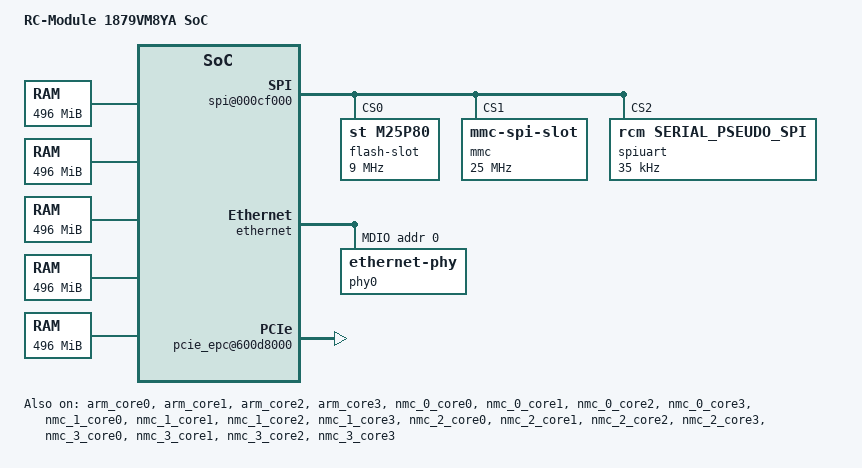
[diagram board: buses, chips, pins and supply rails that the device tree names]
/*
 *
 */

/dts-v1/;
/ {
    model = "RC-Module 1879VM8YA SoC";
    compatible = "rcm,1879VM8YA";

	#address-cells = <1>;
	#size-cells = <1>;

    aliases {
        uart0 = &spiuart;
        mmc0 = &mmc;
    }; 

    chosen {
/*
        bootargs = "earlyprintk debug";
*/
        stdout-path = &spiuart;
    };

    memory@61000000 {
        device_type = "memory";
        /* (1GiB-16MiB) memory @ 0x01000000 */
        reg = <0x61000000 0x1f000000>;
    };

    memory@81000000 {
        device_type = "memory";
        reg = <0x81000000 0x1f000000>;
    };

    memory@A1000000 {
        device_type = "memory";
        reg = <0xA1000000 0x1f000000>;
    };

    memory@C1000000 {
        device_type = "memory";
        reg = <0xC1000000 0x1f000000>;
    };

    memory@E1000000 {
        device_type = "memory";
        reg = <0xE1000000 0x1f000000>;
    };

    cpus {
        #address-cells = <1>;
        #size-cells = <0>;

        cpu0: cpu@0 {
            device_type = "cpu";
            compatible = "arm,cortex-a5";
            reg = <0x0>;
        };
    };

    axi {
        compatible = "arm,amba-bus";
        #address-cells = <1>;
        #size-cells = <1>;
        ranges = <0 0x0 0xFFFFFFFF>;

        bus-frequency = <10000000>;

        gic0: interrupt-controller@600b0000 {
            compatible = "arm,pl390";
            interrupt-controller;
            irq_start = <0>;
            #interrupt-cells = <3>;
            #address-cells = <1>;
            reg = <0x600b0000 0x1000>,
                  <0x600b1000 0x1000>;
        };

        L2: cache-controller {
            compatible = "arm,pl310-cache";
            reg = <0x000d2000 0x1000>;
            cache-unified;
            cache-level = <2>;
            cache-size = <0x80000>;
        };

        apb {
            compatible = "arm,amba-bus", "simple-bus";
            #address-cells = <1>;
            #size-cells = <1>;
            ranges = <0 0x0 0xffffffff>;

            timer@600cd000 {
                compatible = "arm,sp804", "arm,primecell";
                reg = <0x600cd000 0x1000>;
                interrupts = <0 4 4>, <0 5 4>;
                interrupt-parent = <&gic0>;
                interrupt-names = "timer0", "timer1";
                clocks = <&clk_apb>;
                clock-names = "apb_pclk";
            };

            wd@000ce000 {
                reg = <0x600ce000 0x1000>;
                compatible = "arm,sp805", "arm,primecell";
/*
                interrupts = <0 6 4>;
*/
                clocks = <&clk_apb>, <&clk_apb>;
                clock-names = "wdogclk", "apb_pclk";
            };

            spi@000cf000 {
                compatible = "arm,pl022", "arm,primecell";
                bus-id = <0>;
                reg = <0x600cf000 0x1000>;
                #address-cells = <1>;
                #size-cells = <0>;
                interrupt-parent = <&gic0>;
                interrupts = <0 34 4>;
                clocks = <&clk_apb>;
                clock-names = "apb_pclk";
                num-cs = <3>;
                
                flash-slot@0 {
                    compatible = "st,m25p80";
                    reg = <0>;
                    spi-max-frequency = <9000000>; /* DDDDDD <25000000>; */
                };
                mmc: mmc-slot@1 {
                    compatible = "mmc-spi-slot";
                    reg = <1>;
                    spi-max-frequency = <25000000>; /* DDDDDD <25000000>; */
                };
                spiuart: uart-slot@2
                {
                    compatible = "rcm,serial_pseudo_spi";
                    reg = <2>;
                    spi-max-frequency = <35000>; /* in case of (freq >= 37300) - stm32 receives data with corruption*/
                    spi-cpol;
                    spi-cpha;
                };
            };

            clk_axi: clk@0 {
                /* Reference 800MHz clock */
                compatible = "fixed-clock";
                #clock-cells = <0>;
                clock-frequency = <800000000>;
                clock-output-names = "clk_axi";
            };

            clk_apb: clk@1 {
                /* Reference 200MHz clock */
                compatible = "fixed-clock";
                #clock-cells = <0>;
                clock-frequency = <200000000>;
                clock-output-names = "clk_apb";
            };

            ethernet: greth@000d0000 {
                local-mac-address = [ ec 17 66 64 08 10 ];
                status = "okay";

                #address-cells = <1>;
                #size-cells = <1>;
                compatible = "rcm,greth";
                reg = <0x600d0000 0x1000>;
                cell-index = <0>;
                device_type = "network";
                clocks = <&clk_axi>;
                clock-names = "clk_axi";
                interrupt-parent = <&gic0>;
                interrupts = <0 35 1>;

                mdio {
                    compatible = "greth-mdio";
                    #address-cells = <1>;
                    #size-cells = <0>;

                    phy0: ethernet-phy@0 {
                        reg = <0>;  /* 0x1f */
                    };
                };
            };

            pcie_dma: pcie_dma@0x600de000 {
                compatible = "rcm,cdns-dma";
                reg = <0x600de000 0x1000>;
                #dma-cells = <1>;
                interrupt-parent = <&gic0>;
                interrupts = <0 40 4>;

                desc_area = <&ccpu_ccmb0>;
            };

            pcie_epc@600d8000 {
                compatible = "rcm,cdns-pcie-ep";
                reg = <0x600d8000 0x6000>,
                      <0x40000000 0x20000000>;
                reg-names = "reg", "mem";
                cdns,max-outbound-regions = <16>;
/*
                max-functions = /bits/ 8 <8>;
                phys = <&ep_phy0 &ep_phy1>;
                phy-names = "pcie-lane0","pcie-lane1";
*/
                csc = <&ccpu_clsc>;
            };

            pcie@600d8000 {
                compatible = "rcm,cdns-pcie-host";
                device_type = "pci";
                #address-cells = <3>;
                #size-cells = <2>;
                cdns,max-outbound-regions = <16>;
                vendor-id = /bits/ 16 <0x17cd>;
                device-id = /bits/ 16 <0x0200>;

                reg = <0x600d8000 0x6000>,
                      <0x50000000 0x00001000>,
                      <0x40000000 0x20000000>;
                reg-names = "reg", "cfg", "mem";

                ranges = <0x02000000 0x0 0x00000000  0x40000000  0x0 0x10000000>;

                #interrupt-cells = <0x1>;

                interrupt-map = <0x0 0x0 0x0  0x1  &gic0  0x0 0x0 42 0x4
                                 0x0 0x0 0x0  0x2  &gic0  0x0 0x0 43 0x4
                                 0x0 0x0 0x0  0x3  &gic0  0x0 0x0 44 0x4
                                 0x0 0x0 0x0  0x4  &gic0  0x0 0x0 45 0x4>;

                interrupt-map-mask = <0x0 0x0 0x0  0x7>;
/*
                msi-parent = <&its_pci>;

                phys = <&pcie_phy0>;
                phy-names = "pcie-phy";
*/
                status = "disabled";
            };


            thermal: thermal@0x600D1000 {
                compatible = "rcm,thermal-v2";
                reg = <0x600D1000 0x1000>;
                interrupt-parent = <&gic0>;
                interrupts = <0 3 4>;
                #thermal-sensor-cells = <0>;
            };

            ccpu_ccmb0: ccmb@0x60000000 {
                compatible = "syscon";
                reg = <0x60000000 0x20000>;
            };

            ccpu_ccmb1: ccmb@0x60020000 {
                compatible = "syscon";
                reg = <0x60020000 0x20000>;
            };

            ccpu_ccmb2: ccmb@0x60040000 {
                compatible = "syscon";
                reg = <0x60040000 0x20000>;
            };

            ccpu_ccmb3: ccmb@0x60080000 {
                compatible = "syscon";
                reg = <0x60080000 0x20000>;
            };

            pc0_cmb0 {
                compatible = "syscon";
                reg = <0x80000000 0x10000>;
            };

            pc1_cmb0 {
                compatible = "syscon";
                reg = <0xa0000000 0x10000>;
            };

            pc2_cmb0 {
                compatible = "syscon";
                reg = <0xc0000000 0x10000>;
            };

            pc3_cmb0 {
                compatible = "syscon";
                reg = <0xe0000000 0x10000>;
            };

            ccpu_crg0: crg@0x600c6000
            {
                compatible = "syscon";
                reg = <0x600c6000 0x1000>;
            };

            ccpu_crg1: crg@0x600c7000
            {
                compatible = "syscon";
                reg = <0x600c7000 0x1000>;
            };

            ccpu_crg2: crg@0x600c8000
            {
                compatible = "syscon";
                reg = <0x600c8000 0x1000>;
            };

            ccpu_crg3: crg@0x600c9000
            {
                compatible = "syscon";
                reg = <0x600c9000 0x1000>;
            };

            ccpu_clsc: csc@0x600cb000
            {
                compatible = "syscon";
                reg = <0x600cb000 0x1000>;
            };

            pc0_crgnm: crgnm@0x800ca000
            {
                compatible = "syscon";
                reg = <0x800ca000 0x1000>;
            };

            pc1_crgnm: crgnm@0xa00ca000
            {
                compatible = "syscon";
                reg = <0xa00ca000 0x1000>;
            };

            pc2_crgnm: crgnm@0xc00ca000
            {
                compatible = "syscon";
                reg = <0xc00ca000 0x1000>;
            };

            pc3_crgnm: crgnm@0xe00ca000
            {
                compatible = "syscon";
                reg = <0xe00ca000 0x1000>;
            };

            pc0_clsc: clsc@0x800cb000
            {
                compatible = "syscon";
                reg = <0x800cb000 0x1000>;
            };

            pc1_clsc: clsc@0xa00cb000
            {
                compatible = "syscon";
                reg = <0xa00cb000 0x1000>;
            };

            pc2_clsc: clsc@0xc00cb000
            {
                compatible = "syscon";
                reg = <0xc00cb000 0x1000>;
            };

            pc3_clsc: clsc@0xe00cb000
            {
                compatible = "syscon";
                reg = <0xe00cb000 0x1000>;
            };
        };
        
        arm_core0: arm_core@0x80000000 {
            compatible = "rcm,easynmc";
            core-name = "1879VM8YA-arm";
            core-type = "arm";
            device-id = <0>;

            reg = <0x80000000 0x00080000>;  // imem
            reg-names = "imem";

            control = <&ccpu_clsc>;
            reset = <&ccpu_crg0>;

            reset_bit =     <0>;            // reset bit no
            nmi_set_reg =   <0x14>, <0>;    // sctl offset, bit-no
            lp_status_reg = <0x10>, <4>;    // sctl offset, bit-no
            hp_status_reg = <0x10>, <0>;    // sctl offset, bit-no
            lp_set_reg =    <0x14>, <4>;    // sctl offset, bit-no
            hp_set_reg =    <0x14>, <0>;    // sctl offset, bit-no
            lp_clr_reg =    <0x10>, <4>;    // sctl offset, bit-no
            hp_clr_reg =    <0x10>, <0>;    // sctl offset, bit-no

            irq_polling;

            interrupt-parent = <&gic0>;
            interrupts = <0 48 4>, <0 8 4>;
            interrupt-names = "lp", "hp";
            status = "okay";
        };

        arm_core1: arm_core@0xa0000000 {
            compatible = "rcm,easynmc";
            core-name = "1879VM8YA-arm";
            core-type = "arm";
            device-id = <1>;

            reg = <0xa0000000 0x00080000>;  // imem
            reg-names = "imem";

            control = <&ccpu_clsc>;
            reset = <&ccpu_crg1>;

            reset_bit =     <0>;            // reset bit no
            nmi_set_reg =   <0x14>, <1>;    // sctl offset, bit-no
            lp_status_reg = <0x10>, <5>;    // sctl offset, bit-no
            hp_status_reg = <0x10>, <1>;    // sctl offset, bit-no
            lp_set_reg =    <0x14>, <5>;    // sctl offset, bit-no
            hp_set_reg =    <0x14>, <1>;    // sctl offset, bit-no
            lp_clr_reg =    <0x10>, <5>;    // sctl offset, bit-no
            hp_clr_reg =    <0x10>, <1>;    // sctl offset, bit-no

            irq_polling;

            interrupt-parent = <&gic0>;
            interrupts = <0 49 4>, <0 9 4>;
            interrupt-names = "lp", "hp";
            status = "okay";
        };

        arm_core2: arm_core@0xc0000000 {
            compatible = "rcm,easynmc";
            core-name = "1879VM8YA-arm";
            core-type = "arm";
            device-id = <2>;

            reg = <0xc0000000 0x00080000>;  // imem
            reg-names = "imem";

            control = <&ccpu_clsc>;
            reset = <&ccpu_crg2>;

            reset_bit =     <0>;            // reset bit no
            nmi_set_reg =   <0x14>, <2>;    // sctl offset, bit-no
            lp_status_reg = <0x10>, <6>;    // sctl offset, bit-no
            hp_status_reg = <0x10>, <2>;    // sctl offset, bit-no
            lp_set_reg =    <0x14>, <6>;    // sctl offset, bit-no
            hp_set_reg =    <0x14>, <2>;    // sctl offset, bit-no
            lp_clr_reg =    <0x10>, <6>;    // sctl offset, bit-no
            hp_clr_reg =    <0x10>, <2>;    // sctl offset, bit-no

            irq_polling;

            interrupt-parent = <&gic0>;
            interrupts = <0 50 4>, <0 10 4>;
            interrupt-names = "lp", "hp";
            status = "okay";
        };

        arm_core3: arm_core@0xe0000000 {
            compatible = "rcm,easynmc";
            core-name = "1879VM8YA-arm";
            core-type = "arm";
            device-id = <3>;

            reg = <0xe0000000 0x00080000>;  // imem
            reg-names = "imem";

            control = <&ccpu_clsc>;
            reset = <&ccpu_crg3>;

            reset_bit =     <0>;            // reset bit no
            nmi_set_reg =   <0x14>, <3>;    // sctl offset, bit-no
            lp_status_reg = <0x10>, <7>;    // sctl offset, bit-no
            hp_status_reg = <0x10>, <3>;    // sctl offset, bit-no
            lp_set_reg =    <0x14>, <7>;    // sctl offset, bit-no
            hp_set_reg =    <0x14>, <3>;    // sctl offset, bit-no
            lp_clr_reg =    <0x10>, <7>;    // sctl offset, bit-no
            hp_clr_reg =    <0x10>, <3>;    // sctl offset, bit-no

            irq_polling;

            interrupt-parent = <&gic0>;
            interrupts = <0 51 4>, <0 11 4>;
            interrupt-names = "lp", "hp";
            status = "okay";
        };

        nmc_0_core0: nmc_core@0x80100000 {
            compatible = "rcm,easynmc";
            core-name = "1879VM8YA-nmc";
            core-type = "nmc4";
            device-id = <4>;

            reg = <0x80100000 0x00040000>;  // imem
            reg-names = "imem";

            control = <&pc0_clsc>;
            reset = <&pc0_crgnm>;

            reset_bit =     <0>;            // reset bit no
            nmi_set_reg =   <0x0C>, <0>;    // sctl offset, bit-no
            lp_status_reg = <0x10>, <12>;   // sctl offset, bit-no
            hp_status_reg = <0x10>, <4>;    // sctl offset, bit-no
            lp_set_reg =    <0x14>, <12>;   // sctl offset, bit-no
            hp_set_reg =    <0x14>, <4>;    // sctl offset, bit-no
            lp_clr_reg =    <0x10>, <12>;   // sctl offset, bit-no
            hp_clr_reg =    <0x10>, <4>;    // sctl offset, bit-no

            irq_polling;

            status = "okay";
        };

        nmc_0_core1: nmc_core@0x80180000 {
            compatible = "rcm,easynmc";
            core-name = "1879VM8YA-nmc";
            core-type = "nmc4";
            device-id = <5>;

            reg = <0x80180000 0x00040000>;  // imem
            reg-names = "imem";

            control = <&pc0_clsc>;
            reset = <&pc0_crgnm>;

            reset_bit =     <1>;            // reset bit no
            nmi_set_reg =   <0x0C>, <1>;    // sctl offset, bit-no
            lp_status_reg = <0x10>, <13>;   // sctl offset, bit-no
            hp_status_reg = <0x10>, <5>;    // sctl offset, bit-no
            lp_set_reg =    <0x14>, <13>;   // sctl offset, bit-no
            hp_set_reg =    <0x14>, <5>;    // sctl offset, bit-no
            lp_clr_reg =    <0x10>, <13>;   // sctl offset, bit-no
            hp_clr_reg =    <0x10>, <5>;    // sctl offset, bit-no

            irq_polling;

            status = "okay";
        };

        nmc_0_core2: nmc_core@0x80200000 {
            compatible = "rcm,easynmc";
            core-name = "1879VM8YA-nmc";
            core-type = "nmc4";
            device-id = <6>;

            reg = <0x80200000 0x00040000>;  // imem
            reg-names = "imem";

            control = <&pc0_clsc>;
            reset = <&pc0_crgnm>;

            reset_bit =     <2>;            // reset bit no
            nmi_set_reg =   <0x0C>, <2>;    // sctl offset, bit-no
            lp_status_reg = <0x10>, <14>;   // sctl offset, bit-no
            hp_status_reg = <0x10>, <6>;    // sctl offset, bit-no
            lp_set_reg =    <0x14>, <14>;   // sctl offset, bit-no
            hp_set_reg =    <0x14>, <6>;    // sctl offset, bit-no
            lp_clr_reg =    <0x10>, <14>;   // sctl offset, bit-no
            hp_clr_reg =    <0x10>, <6>;    // sctl offset, bit-no

            irq_polling;

            status = "okay";
        };

        nmc_0_core3: nmc_core@0x80280000 {
            compatible = "rcm,easynmc";
            core-name = "1879VM8YA-nmc";
            core-type = "nmc4";
            device-id = <7>;

            reg = <0x80280000 0x00040000>;  // imem
            reg-names = "imem";

            control = <&pc0_clsc>;
            reset = <&pc0_crgnm>;

            reset_bit =     <3>;            // reset bit no
            nmi_set_reg =   <0x0C>, <3>;    // sctl offset, bit-no
            lp_status_reg = <0x10>, <15>;   // sctl offset, bit-no
            hp_status_reg = <0x10>, <7>;    // sctl offset, bit-no
            lp_set_reg =    <0x14>, <15>;   // sctl offset, bit-no
            hp_set_reg =    <0x14>, <7>;    // sctl offset, bit-no
            lp_clr_reg =    <0x10>, <15>;   // sctl offset, bit-no
            hp_clr_reg =    <0x10>, <7>;    // sctl offset, bit-no

            irq_polling;

            status = "okay";
        };

        nmc_1_core0: nmc_core@0xa0100000 {
            compatible = "rcm,easynmc";
            core-name = "1879VM8YA-nmc";
            core-type = "nmc4";
            device-id = <8>;

            reg = <0xa0100000 0x00040000>;  // imem
            reg-names = "imem";

            control = <&pc1_clsc>;
            reset = <&pc1_crgnm>;

            reset_bit =     <0>;            // reset bit no
            nmi_set_reg =   <0x0C>, <0>;    // sctl offset, bit-no
            lp_status_reg = <0x10>, <12>;   // sctl offset, bit-no
            hp_status_reg = <0x10>, <4>;    // sctl offset, bit-no
            lp_set_reg =    <0x14>, <12>;   // sctl offset, bit-no
            hp_set_reg =    <0x14>, <4>;    // sctl offset, bit-no
            lp_clr_reg =    <0x10>, <12>;   // sctl offset, bit-no
            hp_clr_reg =    <0x10>, <4>;    // sctl offset, bit-no

            irq_polling;

            status = "okay";
        };

        nmc_1_core1: nmc_core@0xa0180000 {
            compatible = "rcm,easynmc";
            core-name = "1879VM8YA-nmc";
            core-type = "nmc4";
            device-id = <9>;

            reg = <0xa0180000 0x00040000>;  // imem
            reg-names = "imem";

            control = <&pc1_clsc>;
            reset = <&pc1_crgnm>;

            reset_bit =     <1>;            // reset bit no
            nmi_set_reg =   <0x0C>, <1>;    // sctl offset, bit-no
            lp_status_reg = <0x10>, <13>;   // sctl offset, bit-no
            hp_status_reg = <0x10>, <5>;    // sctl offset, bit-no
            lp_set_reg =    <0x14>, <13>;   // sctl offset, bit-no
            hp_set_reg =    <0x14>, <5>;    // sctl offset, bit-no
            lp_clr_reg =    <0x10>, <13>;   // sctl offset, bit-no
            hp_clr_reg =    <0x10>, <5>;    // sctl offset, bit-no

            irq_polling;

            status = "okay";
        };

        nmc_1_core2: nmc_core@0xa0200000 {
            compatible = "rcm,easynmc";
            core-name = "1879VM8YA-nmc";
            core-type = "nmc4";
            device-id = <10>;

            reg = <0xa0200000 0x00040000>;  // imem
            reg-names = "imem";

            control = <&pc1_clsc>;
            reset = <&pc1_crgnm>;

            reset_bit =     <2>;            // reset bit no
            nmi_set_reg =   <0x0C>, <2>;    // sctl offset, bit-no
            lp_status_reg = <0x10>, <14>;   // sctl offset, bit-no
            hp_status_reg = <0x10>, <6>;    // sctl offset, bit-no
            lp_set_reg =    <0x14>, <14>;   // sctl offset, bit-no
            hp_set_reg =    <0x14>, <6>;    // sctl offset, bit-no
            lp_clr_reg =    <0x10>, <14>;   // sctl offset, bit-no
            hp_clr_reg =    <0x10>, <6>;    // sctl offset, bit-no

            irq_polling;

            status = "okay";
        };

        nmc_1_core3: nmc_core@0xa0280000 {
            compatible = "rcm,easynmc";
            core-name = "1879VM8YA-nmc";
            core-type = "nmc4";
            device-id = <11>;

            reg = <0xa0280000 0x00040000>;  // imem
            reg-names = "imem";

            control = <&pc1_clsc>;
            reset = <&pc1_crgnm>;

            reset_bit =     <3>;            // reset bit no
            nmi_set_reg =   <0x0C>, <3>;    // sctl offset, bit-no
            lp_status_reg = <0x10>, <15>;   // sctl offset, bit-no
            hp_status_reg = <0x10>, <7>;    // sctl offset, bit-no
            lp_set_reg =    <0x14>, <15>;   // sctl offset, bit-no
            hp_set_reg =    <0x14>, <7>;    // sctl offset, bit-no
            lp_clr_reg =    <0x10>, <15>;   // sctl offset, bit-no
            hp_clr_reg =    <0x10>, <7>;    // sctl offset, bit-no

            irq_polling;

            status = "okay";
        };

        nmc_2_core0: nmc_core@0xc0100000 {
            compatible = "rcm,easynmc";
            core-name = "1879VM8YA-nmc";
            core-type = "nmc4";
            device-id = <12>;

            reg = <0xc0100000 0x00040000>;  // imem
            reg-names = "imem";

            control = <&pc2_clsc>;
            reset = <&pc2_crgnm>;

            reset_bit =     <0>;            // reset bit no
            nmi_set_reg =   <0x0C>, <0>;    // sctl offset, bit-no
            lp_status_reg = <0x10>, <12>;   // sctl offset, bit-no
            hp_status_reg = <0x10>, <4>;    // sctl offset, bit-no
            lp_set_reg =    <0x14>, <12>;   // sctl offset, bit-no
            hp_set_reg =    <0x14>, <4>;    // sctl offset, bit-no
            lp_clr_reg =    <0x10>, <12>;   // sctl offset, bit-no
            hp_clr_reg =    <0x10>, <4>;    // sctl offset, bit-no

            irq_polling;

            status = "okay";
        };

        nmc_2_core1: nmc_core@0xc0180000 {
            compatible = "rcm,easynmc";
            core-name = "1879VM8YA-nmc";
            core-type = "nmc4";
            device-id = <13>;

            reg = <0xc0180000 0x00040000>;  // imem
            reg-names = "imem";

            control = <&pc2_clsc>;
            reset = <&pc2_crgnm>;

            reset_bit =     <1>;            // reset bit no
            nmi_set_reg =   <0x0C>, <1>;    // sctl offset, bit-no
            lp_status_reg = <0x10>, <13>;   // sctl offset, bit-no
            hp_status_reg = <0x10>, <5>;    // sctl offset, bit-no
            lp_set_reg =    <0x14>, <13>;   // sctl offset, bit-no
            hp_set_reg =    <0x14>, <5>;    // sctl offset, bit-no
            lp_clr_reg =    <0x10>, <13>;   // sctl offset, bit-no
            hp_clr_reg =    <0x10>, <5>;    // sctl offset, bit-no

            irq_polling;

            status = "okay";
        };

        nmc_2_core2: nmc_core@0xc0200000 {
            compatible = "rcm,easynmc";
            core-name = "1879VM8YA-nmc";
            core-type = "nmc4";
            device-id = <14>;

            reg = <0xc0200000 0x00040000>;  // imem
            reg-names = "imem";

            control = <&pc2_clsc>;
            reset = <&pc2_crgnm>;

            reset_bit =     <2>;            // reset bit no
            nmi_set_reg =   <0x0C>, <2>;    // sctl offset, bit-no
            lp_status_reg = <0x10>, <14>;   // sctl offset, bit-no
            hp_status_reg = <0x10>, <6>;    // sctl offset, bit-no
            lp_set_reg =    <0x14>, <14>;   // sctl offset, bit-no
            hp_set_reg =    <0x14>, <6>;    // sctl offset, bit-no
            lp_clr_reg =    <0x10>, <14>;   // sctl offset, bit-no
            hp_clr_reg =    <0x10>, <6>;    // sctl offset, bit-no

            irq_polling;

            status = "okay";
        };

        nmc_2_core3: nmc_core@0xc0280000 {
            compatible = "rcm,easynmc";
            core-name = "1879VM8YA-nmc";
            core-type = "nmc4";
            device-id = <15>;

            reg = <0xc0280000 0x00040000>;  // imem
            reg-names = "imem";

            control = <&pc2_clsc>;
            reset = <&pc2_crgnm>;

            reset_bit =     <3>;            // reset bit no
            nmi_set_reg =   <0x0C>, <3>;    // sctl offset, bit-no
            lp_status_reg = <0x10>, <15>;   // sctl offset, bit-no
            hp_status_reg = <0x10>, <7>;    // sctl offset, bit-no
            lp_set_reg =    <0x14>, <15>;   // sctl offset, bit-no
            hp_set_reg =    <0x14>, <7>;    // sctl offset, bit-no
            lp_clr_reg =    <0x10>, <15>;   // sctl offset, bit-no
            hp_clr_reg =    <0x10>, <7>;    // sctl offset, bit-no

            irq_polling;

            status = "okay";
        };

        nmc_3_core0: nmc_core@0xe0100000 {
            compatible = "rcm,easynmc";
            core-name = "1879VM8YA-nmc";
            core-type = "nmc4";
            device-id = <16>;

            reg = <0xe0100000 0x00040000>;  // imem
            reg-names = "imem";

            control = <&pc3_clsc>;
            reset = <&pc3_crgnm>;

            reset_bit =     <0>;            // reset bit no
            nmi_set_reg =   <0x0C>, <0>;    // sctl offset, bit-no
            lp_status_reg = <0x10>, <12>;   // sctl offset, bit-no
            hp_status_reg = <0x10>, <4>;    // sctl offset, bit-no
            lp_set_reg =    <0x14>, <12>;   // sctl offset, bit-no
            hp_set_reg =    <0x14>, <4>;    // sctl offset, bit-no
            lp_clr_reg =    <0x10>, <12>;   // sctl offset, bit-no
            hp_clr_reg =    <0x10>, <4>;    // sctl offset, bit-no

            irq_polling;

            status = "okay";
        };

        nmc_3_core1: nmc_core@0xe0180000 {
            compatible = "rcm,easynmc";
            core-name = "1879VM8YA-nmc";
            core-type = "nmc4";
            device-id = <17>;

            reg = <0xe0180000 0x00040000>;  // imem
            reg-names = "imem";

            control = <&pc3_clsc>;
            reset = <&pc3_crgnm>;

            reset_bit =     <1>;            // reset bit no
            nmi_set_reg =   <0x0C>, <1>;    // sctl offset, bit-no
            lp_status_reg = <0x10>, <13>;   // sctl offset, bit-no
            hp_status_reg = <0x10>, <5>;    // sctl offset, bit-no
            lp_set_reg =    <0x14>, <13>;   // sctl offset, bit-no
            hp_set_reg =    <0x14>, <5>;    // sctl offset, bit-no
            lp_clr_reg =    <0x10>, <13>;   // sctl offset, bit-no
            hp_clr_reg =    <0x10>, <5>;    // sctl offset, bit-no

            irq_polling;

            status = "okay";
        };

        nmc_3_core2: nmc_core@0xe0200000 {
            compatible = "rcm,easynmc";
            core-name = "1879VM8YA-nmc";
            core-type = "nmc4";
            device-id = <18>;

            reg = <0xe0200000 0x00040000>;  // imem
            reg-names = "imem";

            control = <&pc3_clsc>;
            reset = <&pc3_crgnm>;

            reset_bit =     <2>;            // reset bit no
            nmi_set_reg =   <0x0C>, <2>;    // sctl offset, bit-no
            lp_status_reg = <0x10>, <14>;   // sctl offset, bit-no
            hp_status_reg = <0x10>, <6>;    // sctl offset, bit-no
            lp_set_reg =    <0x14>, <14>;   // sctl offset, bit-no
            hp_set_reg =    <0x14>, <6>;    // sctl offset, bit-no
            lp_clr_reg =    <0x10>, <14>;   // sctl offset, bit-no
            hp_clr_reg =    <0x10>, <6>;    // sctl offset, bit-no

            irq_polling;

            status = "okay";
        };

        nmc_3_core3: nmc_core@0xe0280000 {
            compatible = "rcm,easynmc";
            core-name = "1879VM8YA-nmc";
            core-type = "nmc4";
            device-id = <19>;

            reg = <0xe0280000 0x00040000>;  // imem
            reg-names = "imem";

            control = <&pc3_clsc>;
            reset = <&pc3_crgnm>;

            reset_bit =     <3>;            // reset bit no
            nmi_set_reg =   <0x0C>, <3>;    // sctl offset, bit-no
            lp_status_reg = <0x10>, <15>;   // sctl offset, bit-no
            hp_status_reg = <0x10>, <7>;    // sctl offset, bit-no
            lp_set_reg =    <0x14>, <15>;   // sctl offset, bit-no
            hp_set_reg =    <0x14>, <7>;    // sctl offset, bit-no
            lp_clr_reg =    <0x10>, <15>;   // sctl offset, bit-no
            hp_clr_reg =    <0x10>, <7>;    // sctl offset, bit-no

            irq_polling;

            status = "okay";
        };
    };

    thermal-zones {
        cpu-thermal {
            polling-delay-passive = <0>;
            polling-delay =  <1000>;
            thermal-sensors = <&thermal>;

            trips {
                cpu-crit {
                    temperature = <100000>;
                    hysteresis = <0>;
                    type = "critical";
                };
            };

            cooling-maps {
            };
        };
    };
};

